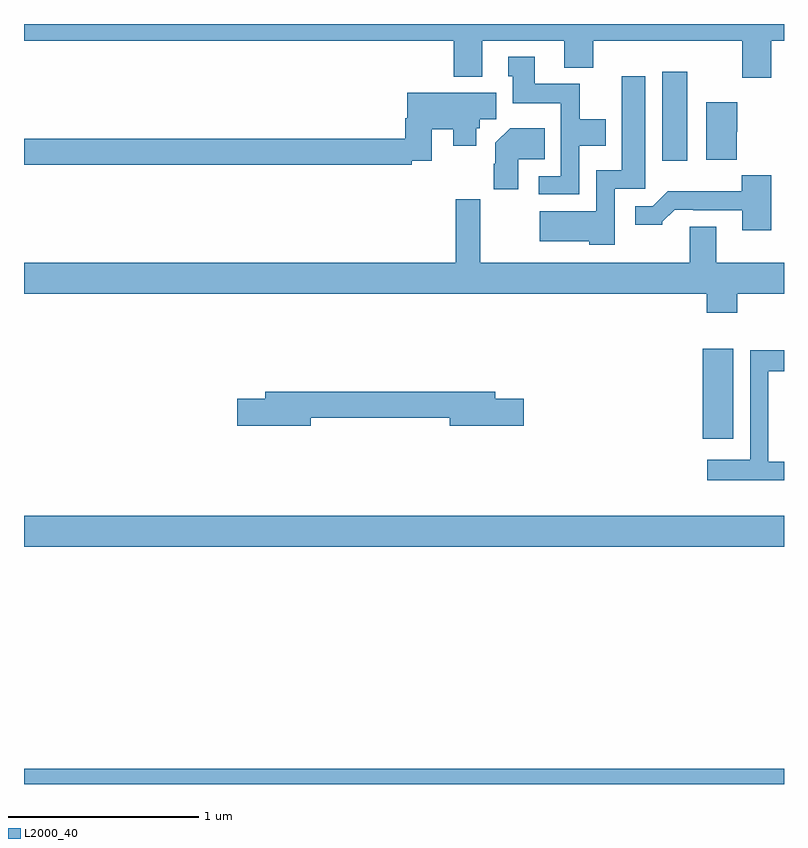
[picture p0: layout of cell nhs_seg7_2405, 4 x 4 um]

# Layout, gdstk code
import gdstk
lib = gdstk.Library(unit=1e-6, precision=1e-09)
def R(c, l, rs):  # rectangles x0, y0, x1, y1
    for r in rs: c.add(gdstk.rectangle(r[:2], r[2:], *l))
def P(c, l, *ps):  # polygons
    for p in ps: c.add(gdstk.Polygon(p, *l))
L2000_40 = (2000, 40)

nhs_seg7_2405 = lib.new_cell('nhs_seg7_2405')
R(nhs_seg7_2405, L2000_40, [(267,1034,271,1034.08), (267,1035.248,271,1035.412), (270.572,1035.816,270.733,1036.291), (270.359,1037.28,270.49,1037.749)])
P(nhs_seg7_2405, L2000_40, [(270.932,1037.912),(271,1037.912),(271,1038),(267,1038),(267,1037.912),(269.261,1037.912),(269.261,1037.723),(269.413,1037.723),(269.413,1037.912),(269.843,1037.912),(269.843,1037.771),(269.996,1037.771),(269.996,1037.912),(270.779,1037.912),(270.779,1037.718),(270.932,1037.718)],
  [(269.922,1037.36),(270.061,1037.36),(270.061,1037.5),(269.925,1037.5),(269.925,1037.686),(269.689,1037.686),(269.689,1037.827),(269.549,1037.827),(269.549,1037.724),(269.573,1037.724),(269.573,1037.582),(269.826,1037.582),(269.826,1037.199),(269.709,1037.199),(269.709,1037.103),(269.922,1037.103)],
  [(270.108,1037.133),(270.271,1037.133),(270.271,1037.725),(270.146,1037.725),(270.146,1037.23),(270.012,1037.23),(270.012,1037.014),(269.715,1037.014),(269.715,1036.856),(269.976,1036.856),(269.976,1036.838),(270.108,1036.838)],
  [(269.042,1037.28),(269.146,1037.28),(269.146,1037.447),(269.258,1037.447),(269.258,1037.36),(269.38,1037.36),(269.38,1037.451),(269.398,1037.451),(269.398,1037.5),(269.485,1037.5),(269.485,1037.638),(269.018,1037.638),(269.018,1037.504),(269.006,1037.504),(269.006,1037.396),(267,1037.396),(267,1037.26),(269.042,1037.26)],
  [(270.752,1037.433),(270.754,1037.433),(270.754,1037.587),(270.59,1037.587),(270.59,1037.285),(270.752,1037.285)],
  [(269.602,1037.288),(269.741,1037.288),(269.741,1037.452),(269.558,1037.452),(269.48,1037.374),(269.48,1037.264),(269.473,1037.264),(269.473,1037.13),(269.602,1037.13)],
  [(270.932,1037.203),(270.777,1037.203),(270.777,1037.119),(270.388,1037.119),(270.309,1037.04),(270.216,1037.04),(270.216,1036.943),(270.36,1036.943),(270.36,1036.958),(270.424,1037.022),(270.523,1037.022),(270.523,1037.019),(270.779,1037.019),(270.779,1036.914),(270.932,1036.914)],
  [(270.753,1036.58),(271,1036.58),(271,1036.744),(270.643,1036.744),(270.643,1036.934),(270.503,1036.934),(270.503,1036.744),(269.401,1036.744),(269.401,1037.077),(269.272,1037.077),(269.272,1036.744),(267,1036.744),(267,1036.58),(270.593,1036.58),(270.593,1036.481),(270.753,1036.481)],
  [(271,1035.696),(270.918,1035.696),(270.918,1036.173),(271,1036.173),(271,1036.282),(270.822,1036.282),(270.822,1035.706),(270.597,1035.706),(270.597,1035.599),(271,1035.599)],
  [(268.51,1035.928),(269.24,1035.928),(269.24,1035.886),(269.629,1035.886),(269.629,1036.028),(269.479,1036.028),(269.479,1036.064),(268.271,1036.064),(268.271,1036.028),(268.122,1036.028),(268.122,1035.886),(268.51,1035.886)])

lib.write_gds('nhs_seg7_2405.gds')
